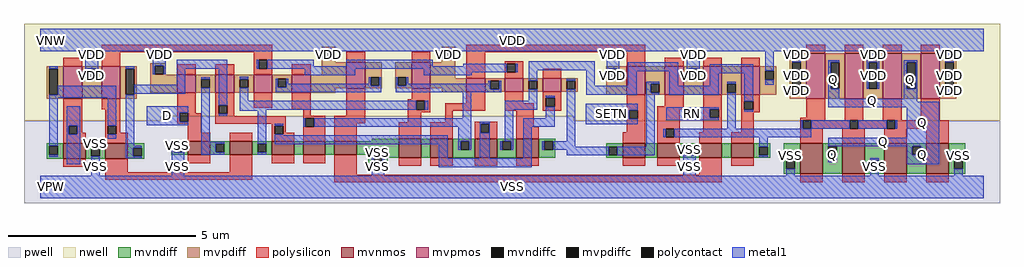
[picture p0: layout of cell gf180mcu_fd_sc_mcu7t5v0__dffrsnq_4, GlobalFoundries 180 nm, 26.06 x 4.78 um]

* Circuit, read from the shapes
.subckt gf180mcu_fd_sc_mcu7t5v0__dffrsnq_4 D RN SETN CLK Q VDD VNW VPW VSS
XM1 VSS CLK n1 VPW nfet_06v0 w=0.405u l=0.6u
XM2 n2 n1 VSS VPW nfet_06v0 w=0.405u l=0.6u
XM3 n3 D VSS VPW nfet_06v0 w=0.365u l=0.6u
XM4 n4 n1 n3 VPW nfet_06v0 w=0.365u l=0.6u
XM5 n5 n2 n4 VPW nfet_06v0 w=0.365u l=0.6u
XM6 n6 n7 n5 VPW nfet_06v0 w=0.365u l=0.6u
XM7 VSS RN n6 VPW nfet_06v0 w=0.365u l=0.6u
XM8 n8 n4 VSS VPW nfet_06v0 w=0.505u l=0.6u
XM9 n7 SETN n8 VPW nfet_06v0 w=0.505u l=0.6u
XM10 n9 n2 n7 VPW nfet_06v0 w=0.505u l=0.6u
XM11 n10 n1 n9 VPW nfet_06v0 w=0.505u l=0.6u
XM12 n11 SETN n10 VPW nfet_06v0 w=0.38u l=0.6u
XM13 VSS n12 n11 VPW nfet_06v0 w=0.38u l=0.6u
XM14 n13 RN VSS VPW nfet_06v0 w=0.38u l=0.6u
XM15 n12 n9 n13 VPW nfet_06v0 w=0.38u l=0.6u
XM16 Q n12 VSS VPW nfet_06v0 w=0.815u l=0.6u m=4
XM17 VDD CLK n1 VNW pfet_06v0 w=0.865u l=0.5u
XM18 n2 n1 VDD VNW pfet_06v0 w=0.865u l=0.5u
XM19 n3 D VDD VNW pfet_06v0 w=0.475u l=0.5u
XM20 n4 n2 n3 VNW pfet_06v0 w=0.475u l=0.5u
XM21 n14 n1 n4 VNW pfet_06v0 w=0.475u l=0.5u
XM22 VDD n7 n14 VNW pfet_06v0 w=0.475u l=0.5u
XM23 n14 RN VDD VNW pfet_06v0 w=0.69u l=0.5u
XM24 VDD n4 n7 VNW pfet_06v0 w=0.69u l=0.5u
XM25 n7 SETN VDD VNW pfet_06v0 w=0.36u l=0.5u
XM26 n9 n1 n7 VNW pfet_06v0 w=0.36u l=0.5u
XM27 n10 n2 n9 VNW pfet_06v0 w=0.36u l=0.5u
XM28 n10 SETN VDD VNW pfet_06v0 w=0.77u l=0.5u
XM29 VDD n12 n10 VNW pfet_06v0 w=0.77u l=0.5u
XM30 n12 RN VDD VNW pfet_06v0 w=0.77u l=0.5u
XM31 VDD n9 n12 VNW pfet_06v0 w=0.77u l=0.5u
XM32 Q n12 VDD VNW pfet_06v0 w=1.215u l=0.5u m=4
.ends

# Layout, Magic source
magic
tech gf180mcuD
magscale 1 10
<< nwell >>
rect -86 377 5126 870
rect -86 352 645 377
rect 2851 352 5126 377
<< pwell >>
rect 645 352 2851 377
rect -86 -86 5126 352
<< mvnmos >>
rect 124 151 244 232
rect 348 151 468 232
rect 788 171 908 244
rect 1012 171 1132 244
rect 1236 171 1356 244
rect 1404 171 1524 244
rect 1572 171 1692 244
rect 1916 156 2036 257
rect 2084 156 2204 257
rect 2320 156 2440 257
rect 2544 156 2664 257
rect 3112 156 3232 232
rect 3296 156 3416 232
rect 3520 156 3640 232
rect 3692 156 3812 232
rect 4060 69 4180 232
rect 4284 69 4404 232
rect 4508 69 4628 232
rect 4732 69 4852 232
<< mvpmos >>
rect 124 472 224 645
rect 328 472 428 645
rect 732 504 832 599
rect 936 504 1036 599
rect 1140 504 1240 599
rect 1344 504 1444 599
rect 1636 527 1736 665
rect 1984 527 2084 665
rect 2276 508 2376 580
rect 2480 508 2580 580
rect 2684 508 2784 580
rect 3132 491 3232 645
rect 3336 491 3436 645
rect 3540 491 3640 645
rect 3744 491 3844 645
rect 4092 472 4192 715
rect 4296 472 4396 715
rect 4500 472 4600 715
rect 4704 472 4804 715
<< mvndiff >>
rect 1771 244 1916 257
rect 36 219 124 232
rect 36 173 49 219
rect 95 173 124 219
rect 36 151 124 173
rect 244 210 348 232
rect 244 164 273 210
rect 319 164 348 210
rect 244 151 348 164
rect 468 210 556 232
rect 468 164 497 210
rect 543 164 556 210
rect 700 230 788 244
rect 700 184 713 230
rect 759 184 788 230
rect 700 171 788 184
rect 908 230 1012 244
rect 908 184 937 230
rect 983 184 1012 230
rect 908 171 1012 184
rect 1132 230 1236 244
rect 1132 184 1161 230
rect 1207 184 1236 230
rect 1132 171 1236 184
rect 1356 171 1404 244
rect 1524 171 1572 244
rect 1692 183 1916 244
rect 1692 171 1781 183
rect 468 151 556 164
rect 1752 137 1781 171
rect 1827 156 1916 183
rect 2036 156 2084 257
rect 2204 244 2320 257
rect 2204 198 2245 244
rect 2291 198 2320 244
rect 2204 156 2320 198
rect 2440 244 2544 257
rect 2440 198 2469 244
rect 2515 198 2544 244
rect 2440 156 2544 198
rect 2664 244 2752 257
rect 2664 198 2693 244
rect 2739 198 2752 244
rect 2664 156 2752 198
rect 3024 215 3112 232
rect 3024 169 3037 215
rect 3083 169 3112 215
rect 3024 156 3112 169
rect 3232 156 3296 232
rect 3416 215 3520 232
rect 3416 169 3445 215
rect 3491 169 3520 215
rect 3416 156 3520 169
rect 3640 156 3692 232
rect 3812 215 3900 232
rect 3812 169 3841 215
rect 3887 169 3900 215
rect 3812 156 3900 169
rect 1827 137 1856 156
rect 1752 124 1856 137
rect 3972 142 4060 232
rect 3972 96 3985 142
rect 4031 96 4060 142
rect 3972 69 4060 96
rect 4180 218 4284 232
rect 4180 172 4209 218
rect 4255 172 4284 218
rect 4180 69 4284 172
rect 4404 142 4508 232
rect 4404 96 4433 142
rect 4479 96 4508 142
rect 4404 69 4508 96
rect 4628 218 4732 232
rect 4628 172 4657 218
rect 4703 172 4732 218
rect 4628 69 4732 172
rect 4852 142 4940 232
rect 4852 96 4881 142
rect 4927 96 4940 142
rect 4852 69 4940 96
<< mvpdiff >>
rect 588 647 672 660
rect 36 632 124 645
rect 36 492 49 632
rect 95 492 124 632
rect 36 472 124 492
rect 224 632 328 645
rect 224 586 253 632
rect 299 586 328 632
rect 224 472 328 586
rect 428 632 516 645
rect 428 492 457 632
rect 503 492 516 632
rect 588 601 613 647
rect 659 601 672 647
rect 588 599 672 601
rect 1504 735 1576 748
rect 1504 689 1517 735
rect 1563 689 1576 735
rect 2144 735 2216 748
rect 1504 665 1576 689
rect 2144 689 2157 735
rect 2203 689 2216 735
rect 2144 665 2216 689
rect 1504 599 1636 665
rect 588 504 732 599
rect 832 575 936 599
rect 832 529 861 575
rect 907 529 936 575
rect 832 504 936 529
rect 1036 576 1140 599
rect 1036 530 1065 576
rect 1111 530 1140 576
rect 1036 504 1140 530
rect 1240 577 1344 599
rect 1240 531 1269 577
rect 1315 531 1344 577
rect 1240 504 1344 531
rect 1444 527 1636 599
rect 1736 586 1824 665
rect 1736 540 1765 586
rect 1811 540 1824 586
rect 1736 527 1824 540
rect 1896 586 1984 665
rect 1896 540 1909 586
rect 1955 540 1984 586
rect 1896 527 1984 540
rect 2084 580 2216 665
rect 4004 665 4092 715
rect 3023 632 3132 645
rect 3023 586 3036 632
rect 3082 586 3132 632
rect 2084 527 2276 580
rect 1444 504 1576 527
rect 428 472 516 492
rect 2144 508 2276 527
rect 2376 567 2480 580
rect 2376 521 2405 567
rect 2451 521 2480 567
rect 2376 508 2480 521
rect 2580 567 2684 580
rect 2580 521 2609 567
rect 2655 521 2684 567
rect 2580 508 2684 521
rect 2784 567 2872 580
rect 2784 521 2813 567
rect 2859 521 2872 567
rect 2784 508 2872 521
rect 3023 491 3132 586
rect 3232 550 3336 645
rect 3232 504 3261 550
rect 3307 504 3336 550
rect 3232 491 3336 504
rect 3436 632 3540 645
rect 3436 586 3465 632
rect 3511 586 3540 632
rect 3436 491 3540 586
rect 3640 550 3744 645
rect 3640 504 3669 550
rect 3715 504 3744 550
rect 3640 491 3744 504
rect 3844 619 3932 645
rect 3844 573 3873 619
rect 3919 573 3932 619
rect 3844 491 3932 573
rect 4004 525 4017 665
rect 4063 525 4092 665
rect 4004 472 4092 525
rect 4192 665 4296 715
rect 4192 525 4221 665
rect 4267 525 4296 665
rect 4192 472 4296 525
rect 4396 665 4500 715
rect 4396 525 4425 665
rect 4471 525 4500 665
rect 4396 472 4500 525
rect 4600 665 4704 715
rect 4600 525 4629 665
rect 4675 525 4704 665
rect 4600 472 4704 525
rect 4804 665 4892 715
rect 4804 525 4833 665
rect 4879 525 4892 665
rect 4804 472 4892 525
<< mvndiffc >>
rect 49 173 95 219
rect 273 164 319 210
rect 497 164 543 210
rect 713 184 759 230
rect 937 184 983 230
rect 1161 184 1207 230
rect 1781 137 1827 183
rect 2245 198 2291 244
rect 2469 198 2515 244
rect 2693 198 2739 244
rect 3037 169 3083 215
rect 3445 169 3491 215
rect 3841 169 3887 215
rect 3985 96 4031 142
rect 4209 172 4255 218
rect 4433 96 4479 142
rect 4657 172 4703 218
rect 4881 96 4927 142
<< mvpdiffc >>
rect 49 492 95 632
rect 253 586 299 632
rect 457 492 503 632
rect 613 601 659 647
rect 1517 689 1563 735
rect 2157 689 2203 735
rect 861 529 907 575
rect 1065 530 1111 576
rect 1269 531 1315 577
rect 1765 540 1811 586
rect 1909 540 1955 586
rect 3036 586 3082 632
rect 2405 521 2451 567
rect 2609 521 2655 567
rect 2813 521 2859 567
rect 3261 504 3307 550
rect 3465 586 3511 632
rect 3669 504 3715 550
rect 3873 573 3919 619
rect 4017 525 4063 665
rect 4221 525 4267 665
rect 4425 525 4471 665
rect 4629 525 4675 665
rect 4833 525 4879 665
<< polysilicon >>
rect 328 720 1240 760
rect 124 645 224 690
rect 328 645 428 720
rect 1140 678 1240 720
rect 732 599 832 656
rect 936 599 1036 656
rect 1140 632 1167 678
rect 1213 632 1240 678
rect 1636 665 1736 721
rect 1984 665 2084 721
rect 1140 599 1240 632
rect 1344 599 1444 656
rect 2276 720 3232 760
rect 2276 580 2376 720
rect 2480 659 2580 672
rect 2480 613 2493 659
rect 2539 613 2580 659
rect 3132 645 3232 720
rect 4092 715 4192 760
rect 4296 715 4396 760
rect 4500 715 4600 760
rect 4704 715 4804 760
rect 3336 645 3436 690
rect 3540 645 3640 690
rect 3744 645 3844 690
rect 2480 580 2580 613
rect 2684 580 2784 630
rect 124 326 224 472
rect 328 416 428 472
rect 124 280 153 326
rect 199 288 224 326
rect 348 326 428 416
rect 732 395 832 504
rect 732 349 745 395
rect 791 394 832 395
rect 936 436 1036 504
rect 791 349 860 394
rect 732 336 860 349
rect 936 390 953 436
rect 999 390 1036 436
rect 1140 424 1240 504
rect 1344 416 1444 504
rect 936 376 1036 390
rect 1404 380 1444 416
rect 1636 380 1736 527
rect 1984 467 2084 527
rect 936 336 1312 376
rect 199 280 244 288
rect 124 232 244 280
rect 348 280 361 326
rect 407 288 428 326
rect 788 288 860 336
rect 1236 326 1312 336
rect 407 280 468 288
rect 348 232 468 280
rect 788 244 908 288
rect 1012 244 1132 288
rect 1236 280 1253 326
rect 1299 288 1312 326
rect 1404 367 1524 380
rect 1404 321 1417 367
rect 1463 321 1524 367
rect 1299 280 1356 288
rect 1236 244 1356 280
rect 1404 244 1524 321
rect 1572 340 1736 380
rect 1964 459 2084 467
rect 1964 413 2008 459
rect 2054 413 2084 459
rect 2276 448 2376 508
rect 1964 400 2084 413
rect 2164 408 2376 448
rect 2480 448 2580 508
rect 2684 475 2784 508
rect 2480 408 2636 448
rect 1964 344 2036 400
rect 2164 344 2204 408
rect 1572 244 1692 340
rect 1916 257 2036 344
rect 2084 257 2204 344
rect 2320 336 2440 349
rect 2320 290 2352 336
rect 2398 290 2440 336
rect 2320 257 2440 290
rect 2544 321 2636 408
rect 2684 429 2701 475
rect 2747 429 2784 475
rect 2684 407 2784 429
rect 3132 409 3232 491
rect 3336 431 3436 491
rect 3132 363 3145 409
rect 3191 363 3232 409
rect 2544 257 2664 321
rect 3132 293 3232 363
rect 124 107 244 151
rect 348 79 468 151
rect 788 127 908 171
rect 1012 79 1132 171
rect 1236 127 1356 171
rect 1404 127 1524 171
rect 348 39 1132 79
rect 1572 64 1692 171
rect 3112 232 3232 293
rect 3296 416 3436 431
rect 3296 311 3416 416
rect 3296 265 3340 311
rect 3386 265 3416 311
rect 3540 415 3640 491
rect 3540 369 3577 415
rect 3623 369 3640 415
rect 3540 293 3640 369
rect 3744 458 3844 491
rect 3744 412 3761 458
rect 3807 412 3844 458
rect 3744 399 3844 412
rect 3744 293 3812 399
rect 4092 370 4192 472
rect 3296 232 3416 265
rect 3520 232 3640 293
rect 3692 232 3812 293
rect 4060 357 4192 370
rect 4296 357 4396 472
rect 4500 357 4600 472
rect 4704 357 4804 472
rect 4060 311 4073 357
rect 4119 311 4323 357
rect 4369 311 4521 357
rect 4567 311 4852 357
rect 4060 232 4180 311
rect 4284 232 4404 311
rect 4508 232 4628 311
rect 4732 232 4852 311
rect 1916 112 2036 156
rect 2084 112 2204 156
rect 2320 112 2440 156
rect 2544 112 2664 156
rect 3112 112 3232 156
rect 3296 112 3416 156
rect 3520 64 3640 156
rect 3692 112 3812 156
rect 1572 24 3640 64
rect 4060 24 4180 69
rect 4284 24 4404 69
rect 4508 24 4628 69
rect 4732 24 4852 69
<< polycontact >>
rect 1167 632 1213 678
rect 2493 613 2539 659
rect 153 280 199 326
rect 745 349 791 395
rect 953 390 999 436
rect 361 280 407 326
rect 1253 280 1299 326
rect 1417 321 1463 367
rect 2008 413 2054 459
rect 2352 290 2398 336
rect 2701 429 2747 475
rect 3145 363 3191 409
rect 3340 265 3386 311
rect 3577 369 3623 415
rect 3761 412 3807 458
rect 4073 311 4119 357
rect 4323 311 4369 357
rect 4521 311 4567 357
<< metal1 >>
rect 0 735 5040 844
rect 0 724 1517 735
rect 49 632 95 645
rect 241 632 311 724
rect 602 647 670 724
rect 1506 689 1517 724
rect 1563 724 2157 735
rect 1563 689 1574 724
rect 2146 689 2157 724
rect 2203 724 5040 735
rect 2203 689 2214 724
rect 241 586 253 632
rect 299 586 311 632
rect 457 632 503 645
rect 95 492 407 540
rect 49 476 407 492
rect 49 219 95 476
rect 49 162 95 173
rect 141 326 214 430
rect 141 280 153 326
rect 199 280 214 326
rect 141 120 214 280
rect 361 326 407 476
rect 361 256 407 280
rect 602 601 613 647
rect 659 601 670 647
rect 730 632 999 678
rect 1156 632 1167 678
rect 1213 643 1460 678
rect 1636 643 2096 678
rect 2260 643 2493 659
rect 1213 632 2493 643
rect 730 545 776 632
rect 503 498 776 545
rect 861 575 907 586
rect 273 210 319 232
rect 273 60 319 164
rect 457 221 503 492
rect 570 395 792 430
rect 570 349 745 395
rect 791 349 792 395
rect 570 330 792 349
rect 861 241 907 529
rect 953 436 999 632
rect 1414 597 1682 632
rect 2049 613 2493 632
rect 2539 613 2550 659
rect 2609 624 2963 671
rect 2049 597 2306 613
rect 1065 576 1111 588
rect 1065 459 1111 530
rect 1258 531 1269 577
rect 1315 551 1326 577
rect 1754 551 1765 586
rect 1315 540 1765 551
rect 1811 540 1822 586
rect 1315 531 1822 540
rect 1258 505 1822 531
rect 1898 540 1909 586
rect 1955 551 1966 586
rect 2609 567 2655 624
rect 2394 551 2405 567
rect 1955 540 2405 551
rect 1898 521 2405 540
rect 2451 521 2462 567
rect 1898 505 2462 521
rect 1065 413 2008 459
rect 2054 413 2072 459
rect 1065 408 1207 413
rect 953 379 999 390
rect 861 230 983 241
rect 457 210 543 221
rect 457 164 497 210
rect 457 153 543 164
rect 702 184 713 230
rect 759 184 770 230
rect 702 60 770 184
rect 861 184 937 230
rect 861 173 983 184
rect 1161 230 1207 408
rect 2256 367 2302 505
rect 2609 459 2655 521
rect 2813 567 2859 578
rect 1253 326 1299 337
rect 1406 321 1417 367
rect 1463 321 2302 367
rect 2480 412 2655 459
rect 2701 475 2747 486
rect 1253 275 1299 280
rect 1253 229 2176 275
rect 1161 173 1207 184
rect 1770 137 1781 183
rect 1827 137 1838 183
rect 1770 60 1838 137
rect 2130 152 2176 229
rect 2234 244 2302 321
rect 2234 198 2245 244
rect 2291 198 2302 244
rect 2349 336 2400 347
rect 2349 290 2352 336
rect 2398 290 2400 336
rect 2349 152 2400 290
rect 2480 244 2526 412
rect 2701 366 2747 429
rect 2458 198 2469 244
rect 2515 198 2526 244
rect 2579 320 2747 366
rect 2579 152 2625 320
rect 2813 244 2859 521
rect 2917 540 2963 624
rect 3025 632 3093 724
rect 3025 586 3036 632
rect 3082 586 3093 632
rect 3139 618 3407 665
rect 3139 540 3185 618
rect 2917 493 3185 540
rect 3237 550 3307 561
rect 3237 504 3261 550
rect 3237 493 3307 504
rect 3361 540 3407 618
rect 3454 632 3522 724
rect 3454 586 3465 632
rect 3511 586 3522 632
rect 3577 607 3807 654
rect 3577 540 3623 607
rect 3361 493 3623 540
rect 3669 550 3715 561
rect 2913 409 3191 445
rect 2913 363 3145 409
rect 2913 334 3191 363
rect 2682 198 2693 244
rect 2739 215 2859 244
rect 3237 215 3283 493
rect 3343 415 3623 426
rect 3343 369 3577 415
rect 3343 357 3623 369
rect 3669 311 3715 504
rect 3761 458 3807 607
rect 3873 619 3919 724
rect 3873 546 3919 573
rect 4017 665 4063 724
rect 4017 506 4063 525
rect 4209 665 4267 676
rect 4209 525 4221 665
rect 4209 472 4267 525
rect 4414 665 4482 724
rect 4414 525 4425 665
rect 4471 525 4482 665
rect 4414 524 4482 525
rect 4612 665 4684 676
rect 4612 525 4629 665
rect 4675 525 4684 665
rect 4612 472 4684 525
rect 4833 665 4879 724
rect 4833 506 4879 525
rect 4209 456 4684 472
rect 4209 425 4801 456
rect 3761 401 3807 412
rect 4061 311 4073 357
rect 4119 311 4323 357
rect 4369 311 4521 357
rect 4567 311 4578 357
rect 3329 265 3340 311
rect 3386 265 4119 311
rect 3841 215 3887 265
rect 4628 263 4801 425
rect 2739 198 3037 215
rect 2813 169 3037 198
rect 3083 169 3283 215
rect 3434 169 3445 215
rect 3491 169 3502 215
rect 2130 106 2625 152
rect 3434 60 3502 169
rect 4209 218 4801 263
rect 3841 158 3887 169
rect 3985 142 4031 181
rect 4255 217 4657 218
rect 4209 131 4255 172
rect 4628 172 4657 217
rect 4703 172 4801 218
rect 4433 142 4479 153
rect 3985 60 4031 96
rect 4628 120 4801 172
rect 4881 142 4927 181
rect 4433 60 4479 96
rect 4881 60 4927 96
rect 0 -60 5040 60
<< labels >>
flabel metal1 s 570 330 792 430 0 FreeSans 600 0 0 0 D
port 1 nsew default input
flabel metal1 s 4612 472 4684 676 0 FreeSans 600 0 0 0 Q
port 5 nsew default output
flabel metal1 s 3343 357 3623 426 0 FreeSans 600 0 0 0 RN
port 2 nsew default input
flabel metal1 s 2913 334 3191 445 0 FreeSans 600 0 0 0 SETN
port 3 nsew default input
flabel metal1 s 0 724 5040 844 0 FreeSans 600 0 0 0 VDD
port 6 nsew power bidirectional abutment
flabel metal1 s 273 230 319 232 0 FreeSans 600 0 0 0 VSS
port 9 nsew ground bidirectional abutment
flabel metal1 s 141 120 214 430 0 FreeSans 600 0 0 0 CLK
port 4 nsew clock input
flabel nwell s 10 734 110 834 0 FreeSans 400 0 0 0 VNW
port 7 nsew power bidirectional
flabel pwell s 10 -50 110 50 0 FreeSans 400 0 0 0 VPW
port 8 nsew ground bidirectional
rlabel metal1 s 4209 472 4267 676 1 Q
port 5 nsew default output
rlabel metal1 s 4209 456 4684 472 1 Q
port 5 nsew default output
rlabel metal1 s 4209 425 4801 456 1 Q
port 5 nsew default output
rlabel metal1 s 4628 263 4801 425 1 Q
port 5 nsew default output
rlabel metal1 s 4209 217 4801 263 1 Q
port 5 nsew default output
rlabel metal1 s 4628 131 4801 217 1 Q
port 5 nsew default output
rlabel metal1 s 4209 131 4255 217 1 Q
port 5 nsew default output
rlabel metal1 s 4628 120 4801 131 1 Q
port 5 nsew default output
rlabel metal1 s 4833 689 4879 724 1 VDD
port 6 nsew power bidirectional abutment
rlabel metal1 s 4414 689 4482 724 1 VDD
port 6 nsew power bidirectional abutment
rlabel metal1 s 4017 689 4063 724 1 VDD
port 6 nsew power bidirectional abutment
rlabel metal1 s 3873 689 3919 724 1 VDD
port 6 nsew power bidirectional abutment
rlabel metal1 s 3454 689 3522 724 1 VDD
port 6 nsew power bidirectional abutment
rlabel metal1 s 3025 689 3093 724 1 VDD
port 6 nsew power bidirectional abutment
rlabel metal1 s 2146 689 2214 724 1 VDD
port 6 nsew power bidirectional abutment
rlabel metal1 s 1506 689 1574 724 1 VDD
port 6 nsew power bidirectional abutment
rlabel metal1 s 602 689 670 724 1 VDD
port 6 nsew power bidirectional abutment
rlabel metal1 s 241 689 311 724 1 VDD
port 6 nsew power bidirectional abutment
rlabel metal1 s 4833 601 4879 689 1 VDD
port 6 nsew power bidirectional abutment
rlabel metal1 s 4414 601 4482 689 1 VDD
port 6 nsew power bidirectional abutment
rlabel metal1 s 4017 601 4063 689 1 VDD
port 6 nsew power bidirectional abutment
rlabel metal1 s 3873 601 3919 689 1 VDD
port 6 nsew power bidirectional abutment
rlabel metal1 s 3454 601 3522 689 1 VDD
port 6 nsew power bidirectional abutment
rlabel metal1 s 3025 601 3093 689 1 VDD
port 6 nsew power bidirectional abutment
rlabel metal1 s 602 601 670 689 1 VDD
port 6 nsew power bidirectional abutment
rlabel metal1 s 241 601 311 689 1 VDD
port 6 nsew power bidirectional abutment
rlabel metal1 s 4833 586 4879 601 1 VDD
port 6 nsew power bidirectional abutment
rlabel metal1 s 4414 586 4482 601 1 VDD
port 6 nsew power bidirectional abutment
rlabel metal1 s 4017 586 4063 601 1 VDD
port 6 nsew power bidirectional abutment
rlabel metal1 s 3873 586 3919 601 1 VDD
port 6 nsew power bidirectional abutment
rlabel metal1 s 3454 586 3522 601 1 VDD
port 6 nsew power bidirectional abutment
rlabel metal1 s 3025 586 3093 601 1 VDD
port 6 nsew power bidirectional abutment
rlabel metal1 s 241 586 311 601 1 VDD
port 6 nsew power bidirectional abutment
rlabel metal1 s 4833 546 4879 586 1 VDD
port 6 nsew power bidirectional abutment
rlabel metal1 s 4414 546 4482 586 1 VDD
port 6 nsew power bidirectional abutment
rlabel metal1 s 4017 546 4063 586 1 VDD
port 6 nsew power bidirectional abutment
rlabel metal1 s 3873 546 3919 586 1 VDD
port 6 nsew power bidirectional abutment
rlabel metal1 s 4833 524 4879 546 1 VDD
port 6 nsew power bidirectional abutment
rlabel metal1 s 4414 524 4482 546 1 VDD
port 6 nsew power bidirectional abutment
rlabel metal1 s 4017 524 4063 546 1 VDD
port 6 nsew power bidirectional abutment
rlabel metal1 s 4833 506 4879 524 1 VDD
port 6 nsew power bidirectional abutment
rlabel metal1 s 4017 506 4063 524 1 VDD
port 6 nsew power bidirectional abutment
rlabel metal1 s 702 215 770 230 1 VSS
port 9 nsew ground bidirectional abutment
rlabel metal1 s 273 215 319 230 1 VSS
port 9 nsew ground bidirectional abutment
rlabel metal1 s 3434 183 3502 215 1 VSS
port 9 nsew ground bidirectional abutment
rlabel metal1 s 702 183 770 215 1 VSS
port 9 nsew ground bidirectional abutment
rlabel metal1 s 273 183 319 215 1 VSS
port 9 nsew ground bidirectional abutment
rlabel metal1 s 3434 181 3502 183 1 VSS
port 9 nsew ground bidirectional abutment
rlabel metal1 s 1770 181 1838 183 1 VSS
port 9 nsew ground bidirectional abutment
rlabel metal1 s 702 181 770 183 1 VSS
port 9 nsew ground bidirectional abutment
rlabel metal1 s 273 181 319 183 1 VSS
port 9 nsew ground bidirectional abutment
rlabel metal1 s 4881 153 4927 181 1 VSS
port 9 nsew ground bidirectional abutment
rlabel metal1 s 3985 153 4031 181 1 VSS
port 9 nsew ground bidirectional abutment
rlabel metal1 s 3434 153 3502 181 1 VSS
port 9 nsew ground bidirectional abutment
rlabel metal1 s 1770 153 1838 181 1 VSS
port 9 nsew ground bidirectional abutment
rlabel metal1 s 702 153 770 181 1 VSS
port 9 nsew ground bidirectional abutment
rlabel metal1 s 273 153 319 181 1 VSS
port 9 nsew ground bidirectional abutment
rlabel metal1 s 4881 60 4927 153 1 VSS
port 9 nsew ground bidirectional abutment
rlabel metal1 s 4433 60 4479 153 1 VSS
port 9 nsew ground bidirectional abutment
rlabel metal1 s 3985 60 4031 153 1 VSS
port 9 nsew ground bidirectional abutment
rlabel metal1 s 3434 60 3502 153 1 VSS
port 9 nsew ground bidirectional abutment
rlabel metal1 s 1770 60 1838 153 1 VSS
port 9 nsew ground bidirectional abutment
rlabel metal1 s 702 60 770 153 1 VSS
port 9 nsew ground bidirectional abutment
rlabel metal1 s 273 60 319 153 1 VSS
port 9 nsew ground bidirectional abutment
rlabel metal1 s 0 -60 5040 60 1 VSS
port 9 nsew ground bidirectional abutment
<< properties >>
string FIXED_BBOX 0 0 5040 784
string GDS_END 1049066
string GDS_FILE $PDKPATH/libs.ref/gf180mcu_fd_sc_mcu7t5v0/gds/gf180mcu_fd_sc_mcu7t5v0.gds
string GDS_START 1038088
string LEFclass core
string LEFsite GF018hv5v_mcu_sc7
string LEFsymmetry X Y
<< end >>
